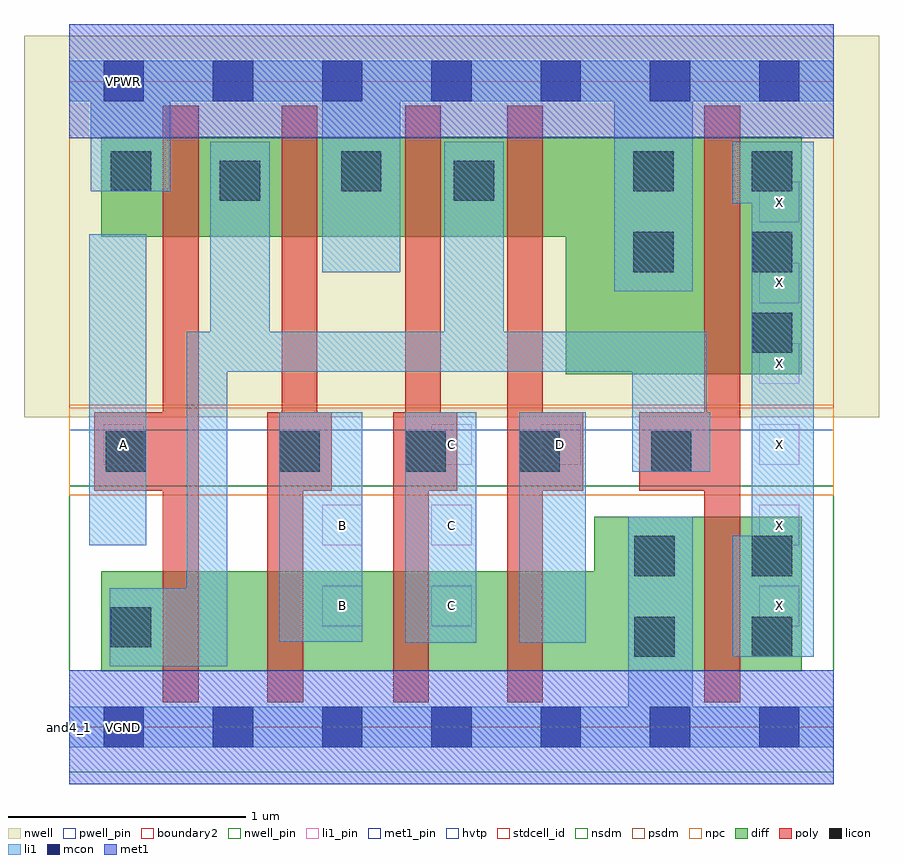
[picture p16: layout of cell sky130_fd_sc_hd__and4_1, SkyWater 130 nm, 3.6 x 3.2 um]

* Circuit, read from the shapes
.subckt sky130_fd_sc_hd__and4_1 A B C D VGND VNB VPB VPWR X
XM1 n1 A n2 VNB sky130_fd_pr__nfet_01v8 w=0.42 l=0.15
XM2 n3 B n1 VNB sky130_fd_pr__nfet_01v8 w=0.42 l=0.15
XM3 n4 C n3 VNB sky130_fd_pr__nfet_01v8 w=0.42 l=0.15
XM4 VGND D n4 VNB sky130_fd_pr__nfet_01v8 w=0.42 l=0.15
XM5 X n2 VGND VNB sky130_fd_pr__nfet_01v8 w=0.65 l=0.15
XM6 n2 A VPWR VPB sky130_fd_pr__pfet_01v8_hvt w=0.42 l=0.15
XM7 VPWR B n2 VPB sky130_fd_pr__pfet_01v8_hvt w=0.42 l=0.15
XM8 n2 C VPWR VPB sky130_fd_pr__pfet_01v8_hvt w=0.42 l=0.15
XM9 VPWR D n2 VPB sky130_fd_pr__pfet_01v8_hvt w=0.42 l=0.15
XM10 X n2 VPWR VPB sky130_fd_pr__pfet_01v8_hvt w=1 l=0.15
.ends

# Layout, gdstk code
import gdstk
lib = gdstk.Library(unit=1e-6, precision=1e-09)
def R(c, l, rs):  # rectangles x0, y0, x1, y1
    for r in rs: c.add(gdstk.rectangle(r[:2], r[2:], *l))
def A(c, l, x, y, w, h, nx, ny, dx, dy):  # array of equal rectangles
    R(c, l, [(x+i*dx, y+j*dy, x+i*dx+w, y+j*dy+h) for i in range(nx) for j in range(ny)])
def P(c, l, *ps):  # polygons
    for p in ps: c.add(gdstk.Polygon(p, *l))
nwell_pin = (64, 16)
nwell = (64, 20)
diff = (65, 20)
poly = (66, 20)
licon = (66, 44)
li1_pin = (67, 16)
li1 = (67, 20)
mcon = (67, 44)
met1_pin = (68, 16)
met1 = (68, 20)
hvtp = (78, 44)
stdcell_id = (81, 4)
nsdm = (93, 44)
psdm = (94, 20)
npc = (95, 20)
pwell_pin = (122, 16)
boundary2 = (236, 0)

sky130_fd_sc_hd__and4_1 = lib.new_cell('sky130_fd_sc_hd__and4_1')
R(sky130_fd_sc_hd__and4_1, nwell_pin, [(0.145,2.635,0.315,2.805)])
R(sky130_fd_sc_hd__and4_1, nwell, [(-0.19,1.305,3.41,2.91)])
P(sky130_fd_sc_hd__and4_1, diff, [(3.085,0.885),(2.21,0.885),(2.21,0.655),(0.135,0.655),(0.135,0.235),(3.085,0.235)],
  [(3.085,2.485),(0.135,2.485),(0.135,2.065),(2.09,2.065),(2.09,1.485),(3.085,1.485)])
P(sky130_fd_sc_hd__and4_1, poly, [(2.825,2.615),(2.675,2.615),(2.675,1.325),(2.4,1.325),(2.4,0.995),(2.675,0.995),(2.675,0.105),(2.825,0.105)],
  [(2.165,1.325),(1.995,1.325),(1.995,2.615),(1.845,2.615),(1.845,0.105),(1.995,0.105),(1.995,0.995),(2.165,0.995)],
  [(1.635,1.325),(1.565,1.325),(1.565,2.615),(1.415,2.615),(1.415,1.325),(1.365,1.325),(1.365,0.105),(1.515,0.105),(1.515,0.995),(1.635,0.995)],
  [(1.105,1.325),(1.045,1.325),(1.045,2.615),(0.895,2.615),(0.895,1.325),(0.835,1.325),(0.835,0.105),(0.985,0.105),(0.985,0.995),(1.105,0.995)],
  [(0.545,2.615),(0.395,2.615),(0.395,1.325),(0.105,1.325),(0.105,0.995),(0.395,0.995),(0.395,0.105),(0.545,0.105)])
A(sky130_fd_sc_hd__and4_1, licon, 2.875, 1.575, 0.17, 0.17, 1, 3, 0, 0.34)
R(sky130_fd_sc_hd__and4_1, licon, [(2.38,0.295,2.55,0.465), (2.875,0.295,3.045,0.465), (0.175,0.335,0.345,0.505), (2.38,0.635,2.55,0.805), (2.875,0.635,3.045,0.805), (0.155,1.075,0.325,1.245), (0.885,1.075,1.055,1.245), (1.415,1.075,1.585,1.245), (1.895,1.075,2.065,1.245), (2.45,1.075,2.62,1.245), (2.375,1.915,2.545,2.085), (0.635,2.215,0.805,2.385), (1.62,2.215,1.79,2.385), (0.175,2.255,0.345,2.425), (1.145,2.255,1.315,2.425), (2.375,2.255,2.545,2.425)])
A(sky130_fd_sc_hd__and4_1, li1_pin, 1.525, 0.425, 0.17, 0.17, 1, 3, 0, 0.34)
A(sky130_fd_sc_hd__and4_1, li1_pin, 2.905, 0.425, 0.17, 0.17, 1, 6, 0, 0.34)
R(sky130_fd_sc_hd__and4_1, li1_pin, [(1.065,0.425,1.235,0.595), (1.065,0.765,1.235,0.935), (0.145,1.105,0.315,1.275), (1.985,1.105,2.155,1.275)])
R(sky130_fd_sc_hd__and4_1, li1, [(1.415,0.355,1.715,1.325), (1.895,0.355,2.175,1.325), (0.885,0.36,1.235,1.325), (0.085,0.765,0.325,2.075)])
P(sky130_fd_sc_hd__and4_1, li1, [(2.7,1.325),(2.685,1.325),(2.685,1.665),(1.83,1.665),(1.83,2.465),(1.58,2.465),(1.58,1.665),(0.845,1.665),(0.845,2.465),(0.595,2.465),(0.595,1.665),(0.495,1.665),(0.495,0.585),(0.17,0.585),(0.17,0.255),(0.665,0.255),(0.665,1.495),(2.37,1.495),(2.37,1.075),(2.7,1.075)],
  [(3.135,2.465),(2.795,2.465),(2.795,2.205),(2.875,2.205),(2.875,0.805),(2.795,0.805),(2.795,0.295),(3.135,0.295)],
  [(3.22,2.805),(0,2.805),(0,2.635),(0.09,2.635),(0.09,2.255),(0.425,2.255),(0.425,2.635),(1.065,2.635),(1.065,1.915),(1.395,1.915),(1.395,2.635),(2.295,2.635),(2.295,1.835),(2.625,1.835),(2.625,2.635),(3.22,2.635)],
  [(3.22,0.085),(2.625,0.085),(2.625,0.885),(2.355,0.885),(2.355,0.085),(0,0.085),(0,-0.085),(3.22,-0.085)])
A(sky130_fd_sc_hd__and4_1, mcon, 0.145, -0.085, 0.17, 0.17, 7, 2, 0.46, 2.72)
R(sky130_fd_sc_hd__and4_1, met1_pin, [(0.145,-0.085,0.315,0.085), (0.145,2.635,0.315,2.805)])
R(sky130_fd_sc_hd__and4_1, hvtp, [(0,1.25,3.22,2.72)])
R(sky130_fd_sc_hd__and4_1, stdcell_id, [(0,0,3.22,2.72)])
R(sky130_fd_sc_hd__and4_1, nsdm, [(0,-0.19,3.22,1.015)])
R(sky130_fd_sc_hd__and4_1, psdm, [(0,1.355,3.22,2.91)])
R(sky130_fd_sc_hd__and4_1, npc, [(0,0.975,3.22,1.345)])
R(sky130_fd_sc_hd__and4_1, pwell_pin, [(0.145,-0.085,0.315,0.085)])
R(sky130_fd_sc_hd__and4_1, boundary2, [(0,0,3.22,2.72)])
sky130_fd_sc_hd__and4_1.add(gdstk.FlexPath([(0,2.72),(3.22,2.72)], 0.48, ends="flush", simple_path=True, layer=68, datatype=20))  # met1
sky130_fd_sc_hd__and4_1.add(gdstk.FlexPath([(0,0),(3.22,0)], 0.48, ends="flush", simple_path=True, layer=68, datatype=20))  # met1
sky130_fd_sc_hd__and4_1.add(gdstk.Label('X', (2.99,2.21), layer=67, texttype=5))
sky130_fd_sc_hd__and4_1.add(gdstk.Label('C', (1.61,0.51), layer=67, texttype=5))
sky130_fd_sc_hd__and4_1.add(gdstk.Label('C', (1.61,0.85), layer=67, texttype=5))
sky130_fd_sc_hd__and4_1.add(gdstk.Label('A', (0.23,1.19), layer=67, texttype=5))
sky130_fd_sc_hd__and4_1.add(gdstk.Label('C', (1.61,1.19), layer=67, texttype=5))
sky130_fd_sc_hd__and4_1.add(gdstk.Label('B', (1.15,0.51), layer=67, texttype=5))
sky130_fd_sc_hd__and4_1.add(gdstk.Label('B', (1.15,0.85), layer=67, texttype=5))
sky130_fd_sc_hd__and4_1.add(gdstk.Label('D', (2.07,1.19), layer=67, texttype=5))
sky130_fd_sc_hd__and4_1.add(gdstk.Label('X', (2.99,0.51), layer=67, texttype=5))
sky130_fd_sc_hd__and4_1.add(gdstk.Label('X', (2.99,0.85), layer=67, texttype=5))
sky130_fd_sc_hd__and4_1.add(gdstk.Label('X', (2.99,1.19), layer=67, texttype=5))
sky130_fd_sc_hd__and4_1.add(gdstk.Label('X', (2.99,1.53), layer=67, texttype=5))
sky130_fd_sc_hd__and4_1.add(gdstk.Label('X', (2.99,1.87), layer=67, texttype=5))
sky130_fd_sc_hd__and4_1.add(gdstk.Label('VGND', (0.23,0), layer=68, texttype=5))
sky130_fd_sc_hd__and4_1.add(gdstk.Label('VPWR', (0.23,2.72), layer=68, texttype=5))
sky130_fd_sc_hd__and4_1.add(gdstk.Label('VPB', (0.23,2.72), layer=64, texttype=5))
sky130_fd_sc_hd__and4_1.add(gdstk.Label('VNB', (0.23,0), layer=64, texttype=59))
sky130_fd_sc_hd__and4_1.add(gdstk.Label('and4_1', (0,0), layer=83, texttype=44))

lib.write_gds('sky130_fd_sc_hd__and4_1.gds')
